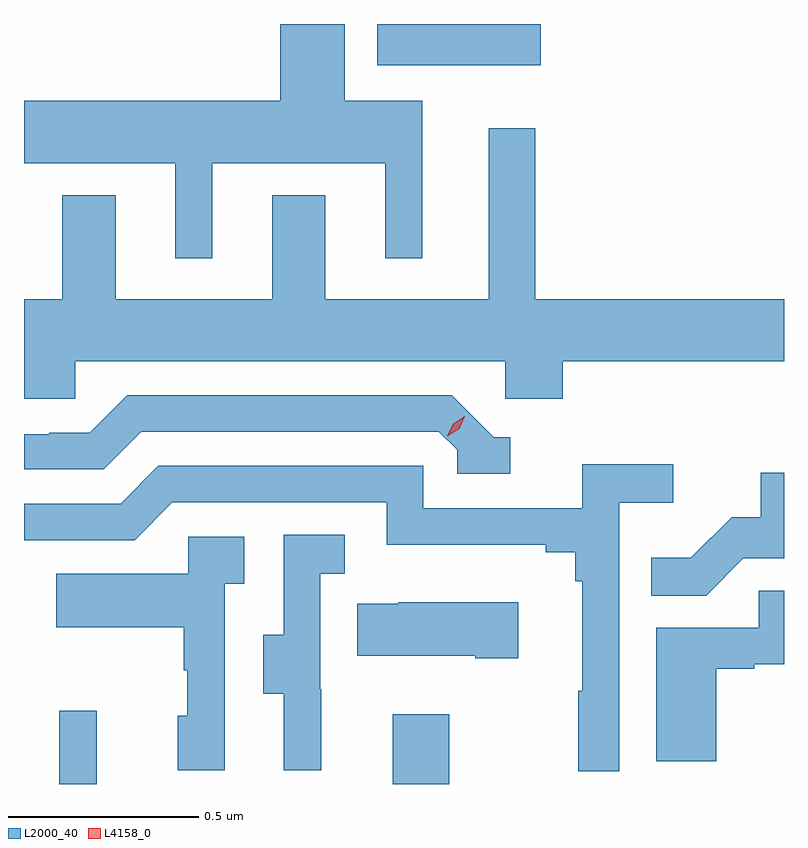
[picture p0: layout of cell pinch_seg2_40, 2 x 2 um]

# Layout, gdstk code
import gdstk
lib = gdstk.Library(unit=1e-6, precision=1e-09)
def R(c, l, rs):  # rectangles x0, y0, x1, y1
    for r in rs: c.add(gdstk.rectangle(r[:2], r[2:], *l))
def P(c, l, *ps):  # polygons
    for p in ps: c.add(gdstk.Polygon(p, *l))
L2000_40 = (2000, 40)
L4158_0 = (4158, 0)

pinch_seg2_40 = lib.new_cell('pinch_seg2_40')
R(pinch_seg2_40, L2000_40, [(1120.593,654.516,1120.691,654.709), (1121.471,654.516,1121.619,654.7), (1121.43,656.408,1121.86,656.516)])
P(pinch_seg2_40, L2000_40, [(1120.996,656.15),(1121.45,656.15),(1121.45,655.899),(1121.548,655.899),(1121.548,656.314),(1121.344,656.314),(1121.344,656.516),(1121.174,656.516),(1121.174,656.314),(1120.5,656.314),(1120.5,656.15),(1120.898,656.15),(1120.898,655.899),(1120.996,655.899)],
  [(1120.635,655.628),(1121.766,655.628),(1121.766,655.53),(1121.918,655.53),(1121.918,655.628),(1122.5,655.628),(1122.5,655.792),(1121.845,655.792),(1121.845,656.242),(1121.723,656.242),(1121.723,655.792),(1121.293,655.792),(1121.293,656.065),(1121.153,656.065),(1121.153,655.792),(1120.741,655.792),(1120.741,656.065),(1120.601,656.065),(1120.601,655.792),(1120.5,655.792),(1120.5,655.53),(1120.635,655.53)],
  [(1121.779,655.428),(1121.736,655.428),(1121.625,655.539),(1120.772,655.539),(1120.673,655.44),(1120.566,655.44),(1120.566,655.437),(1120.5,655.437),(1120.5,655.344),(1120.71,655.344),(1120.809,655.443),(1121.592,655.443),(1121.64,655.395),(1121.64,655.332),(1121.779,655.332)],
  [(1122.066,655.256),(1122.208,655.256),(1122.208,655.358),(1121.969,655.358),(1121.969,655.242),(1121.55,655.242),(1121.55,655.353),(1120.853,655.353),(1120.754,655.254),(1120.5,655.254),(1120.5,655.158),(1120.791,655.158),(1120.89,655.257),(1121.454,655.257),(1121.454,655.145),(1121.873,655.145),(1121.873,655.126),(1121.95,655.126),(1121.95,655.049),(1121.969,655.049),(1121.969,654.761),(1121.958,654.761),(1121.958,654.549),(1122.066,654.549)],
  [(1122.393,655.11),(1122.5,655.11),(1122.5,655.335),(1122.439,655.335),(1122.439,655.218),(1122.362,655.218),(1122.255,655.111),(1122.151,655.111),(1122.151,655.012),(1122.295,655.012)],
  [(1121.282,654.765),(1121.28,654.765),(1121.28,655.069),(1121.344,655.069),(1121.344,655.172),(1121.184,655.172),(1121.184,654.909),(1121.129,654.909),(1121.129,654.754),(1121.183,654.754),(1121.183,654.552),(1121.282,654.552)],
  [(1121.028,655.043),(1121.08,655.043),(1121.08,655.167),(1120.932,655.167),(1120.932,655.069),(1120.585,655.069),(1120.585,654.929),(1120.92,654.929),(1120.92,654.815),(1120.93,654.815),(1120.93,654.696),(1120.904,654.696),(1120.904,654.552),(1121.028,654.552)],
  [(1122.322,654.819),(1122.422,654.819),(1122.422,654.831),(1122.5,654.831),(1122.5,655.025),(1122.433,655.025),(1122.433,654.927),(1122.164,654.927),(1122.164,654.576),(1122.322,654.576)],
  [(1121.8,654.994),(1121.485,654.994),(1121.485,654.991),(1121.377,654.991),(1121.377,654.854),(1121.687,654.854),(1121.687,654.847),(1121.8,654.847)])
P(pinch_seg2_40, L4158_0, [(1121.614,655.431),(1121.614,655.431),(1121.629,655.464),(1121.66,655.484),(1121.66,655.484),(1121.66,655.484),(1121.645,655.451),(1121.614,655.431)])

lib.write_gds('pinch_seg2_40.gds')
